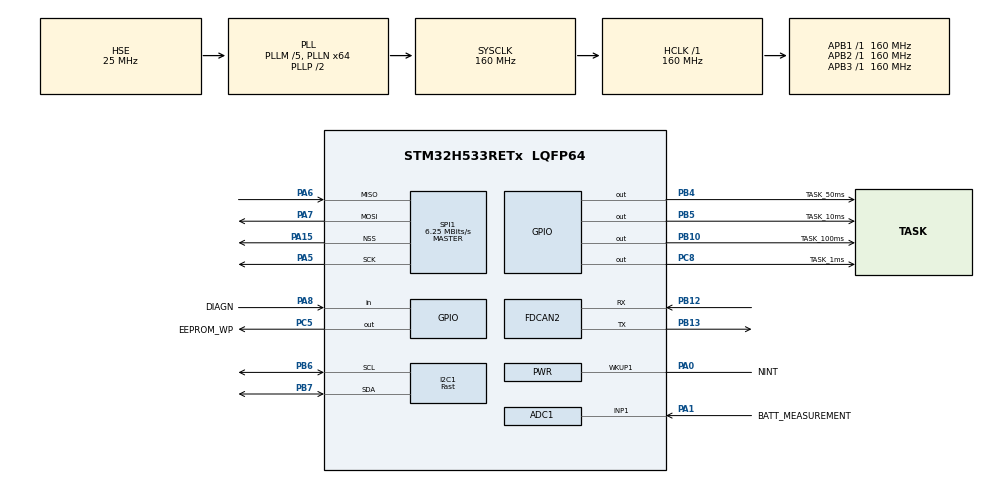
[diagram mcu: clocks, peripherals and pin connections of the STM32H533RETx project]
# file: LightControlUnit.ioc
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ADC1.AWD1FilteringConfig=ADC_AWD_FILTERING_4SAMPLES
ADC1.AWD1HighThreshold=3845
ADC1.AWD1ITMode=ENABLE
ADC1.AWD1LowThreshold=1960
ADC1.Channel-1\#ChannelRegularConversion=ADC_CHANNEL_1
ADC1.EnableAnalogWatchDog1=true
ADC1.MonitoredBy-1\#ChannelRegularConversion=__NULL
ADC1.NbrOfConversionFlag=1
ADC1.OffsetNumber-1\#ChannelRegularConversion=ADC_OFFSET_NONE
ADC1.Rank-1\#ChannelRegularConversion=1
ADC1.SamplingTime-1\#ChannelRegularConversion=ADC_SAMPLETIME_92CYCLES_5
ADC1.WatchdogChannel=ADC_CHANNEL_1
ADC1.master=1
BOOTPATH.BootPathName=LEGACY
BOOTPATH.UserSelectedBootPath=LEGACY
CORTEX_M33_NS.userName=CORTEX_M33
FDCAN2.CalculateBaudRateNominal=500000
FDCAN2.CalculateTimeBitNominal=2000
FDCAN2.CalculateTimeQuantumNominal=100.0
FDCAN2.ClockDivider=FDCAN_CLOCK_DIV1
FDCAN2.NominalTimeSeg1=15
FDCAN2.NominalTimeSeg2=4
I2C1.I2C_Speed_Mode=I2C_Fast
I2C1.Timing=0x00F07BFF
Mcu.Family=STM32H5
Mcu.Name=STM32H533RETx
Mcu.Package=LQFP64
NVIC.PriorityGroup=NVIC_PRIORITYGROUP_4
NVIC.TIM2_IRQn=true\:15\:0\:false\:false\:true\:false\:true\:true
NVIC.TimeBase=TIM2_IRQn
NVIC.TimeBaseIP=TIM2
PA0.GPIO_Label=NINT
PA0.Mode=WakeUp1
PA0.Signal=PWR_WKUP1
PA1.GPIO_Label=BATT_MEASUREMENT
PA1.Signal=ADCx_INP1
PA13(JTMS/SWDIO).GPIO_Label=SWDIO
PA13(JTMS/SWDIO).Mode=Trace_Asynchronous_SW
PA13(JTMS/SWDIO).Signal=DEBUG_JTMS-SWDIO
PA14(JTCK/SWCLK).GPIO_Label=SWCLK
PA14(JTCK/SWCLK).Mode=Trace_Asynchronous_SW
PA14(JTCK/SWCLK).Signal=DEBUG_JTCK-SWCLK
PA15(JTDI).Mode=NSS_Signal_Hard_Output
PA15(JTDI).Signal=SPI1_NSS
PA5.Mode=Full_Duplex_Master
PA5.Signal=SPI1_SCK
PA6.Mode=Full_Duplex_Master
PA6.Signal=SPI1_MISO
PA7.Mode=Full_Duplex_Master
PA7.Signal=SPI1_MOSI
PA8.GPIO_Label=DIAGN
PA8.Signal=GPIO_Input
PB10.GPIO_Label=TASK_100ms
PB10.Signal=GPIO_Output
PB12.Mode=FDCAN_Activate
PB12.Signal=FDCAN2_RX
PB13.Mode=FDCAN_Activate
PB13.Signal=FDCAN2_TX
PB3(JTDO/TRACESWO).GPIO_Label=SWO
PB3(JTDO/TRACESWO).Mode=Trace_Asynchronous_SW
PB3(JTDO/TRACESWO).Signal=DEBUG_JTDO-SWO
PB4(NJTRST).GPIO_Label=TASK_50ms
PB4(NJTRST).Signal=GPIO_Output
PB5.GPIO_Label=TASK_10ms
PB5.Signal=GPIO_Output
PB6.Mode=I2C
PB6.Signal=I2C1_SCL
PB7.Mode=I2C
PB7.Signal=I2C1_SDA
PC14-OSC32_IN(OSC32_IN).Mode=LSE-External-Oscillator
PC14-OSC32_IN(OSC32_IN).Signal=RCC_OSC32_IN
PC15-OSC32_OUT(OSC32_OUT).Mode=LSE-External-Oscillator
PC15-OSC32_OUT(OSC32_OUT).Signal=RCC_OSC32_OUT
PC5.GPIO_Label=EEPROM_WP
PC5.Signal=GPIO_Output
PC8.GPIO_Label=TASK_1ms
PC8.Signal=GPIO_Output
PH0-OSC_IN(PH0).Mode=HSE-External-Oscillator
PH0-OSC_IN(PH0).Signal=RCC_OSC_IN
PH1-OSC_OUT(PH1).Mode=HSE-External-Oscillator
PH1-OSC_OUT(PH1).Signal=RCC_OSC_OUT
ProjectManager.HeapSize=0x200
ProjectManager.StackSize=0x400
ProjectManager.TargetToolchain=STM32CubeIDE
RCC.ADCCLockSelection=RCC_ADCDACCLKSOURCE_PLL2R
RCC.ADCFreq_Value=100000000
RCC.AHBFreq_Value=160000000
RCC.APB1Freq_Value=160000000
RCC.APB1TimFreq_Value=160000000
RCC.APB2Freq_Value=160000000
RCC.APB2TimFreq_Value=160000000
RCC.APB3Freq_Value=160000000
RCC.CSI_VALUE=4000000
RCC.CortexFreq_Value=160000000
RCC.EPOD_VALUE=25000000
RCC.FDCANClockSelection=RCC_FDCANCLKSOURCE_PLL1Q
RCC.HCLKFreq_Value=160000000
RCC.HSE_VALUE=25000000
RCC.HSI48_VALUE=48000000
RCC.HSI_VALUE=64000000
RCC.LSIRC_VALUE=32000
RCC.PLL2M=4
RCC.PLL2N=64
RCC.PLL2P=4
RCC.PLL2Q=4
RCC.PLL2R=4
RCC.PLL2Source=RCC_PLL2_SOURCE_HSE
RCC.PLL3FRACN=0
RCC.PLL3M=4
RCC.PLL3N=64
RCC.PLL3P=4
RCC.PLL3R=4
RCC.PLL3Source=RCC_PLL3_SOURCE_HSE
RCC.PLLFRACN=0
RCC.PLLM=5
RCC.PLLN=64
RCC.PLLSourceVirtual=RCC_PLL1_SOURCE_HSE
RCC.SPI1CLockSelection=RCC_SPI1CLKSOURCE_PLL3P
RCC.SYSCLKFreq_VALUE=160000000
RCC.SYSCLKSource=RCC_SYSCLKSOURCE_PLLCLK
RCC.USBFreq_Value=48000000
RCC.VCOOutputFreq_Value=320000000
SH.ADCx_INP1.0=ADC1_INP1,IN1-Single-Ended
SPI1.BaudRatePrescaler=SPI_BAUDRATEPRESCALER_16
SPI1.CalculateBaudRate=6.25 MBits/s
SPI1.DataSize=SPI_DATASIZE_8BIT
SPI1.Direction=SPI_DIRECTION_2LINES
SPI1.Mode=SPI_MODE_MASTER
SPI1.TIMode=SPI_TIMODE_DISABLE
SPI1.VirtualNSS=VM_NSSHARD
SPI1.VirtualType=VM_MASTER
STMicroelectronics.X-CUBE-FREERTOS.1.2.0.configUSE_IDLE_HOOK=0
STMicroelectronics.X-CUBE-FREERTOS.1.2.0.configUSE_TICKLESS_IDLE=2
VP_BOOTPATH_VS_BOOTPATH.Mode=BP_Activate
VP_CORTEX_M33_NS_VS_Hclk.Mode=Hclk_Mode
VP_ICACHE_VS_ICACHE.Mode=DirectMappedCache
VP_MEMORYMAP_VS_MEMORYMAP.Mode=CurAppReg
VP_PWR_VS_DBSignals.Mode=DisableDeadBatterySignals
VP_PWR_VS_LPOM.Mode=PowerOptimisation
VP_PWR_VS_SECSignals.Mode=Security/Privilege
VP_SYS_VS_tim2.Mode=TIM2
board=NUCLEO-H533RE

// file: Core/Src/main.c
/* USER CODE BEGIN Header */
/**
  ******************************************************************************
  * @file           : main.c
  * @brief          : Main program body
  ******************************************************************************
  * @attention
  *
  * Copyright (c) 2026 STMicroelectronics.
  * All rights reserved.
  *
  * This software is licensed under terms that can be found in the LICENSE file
  * in the root directory of this software component.
  * If no LICENSE file comes with this software, it is provided AS-IS.
  *
  ******************************************************************************
  */
/* USER CODE END Header */
#include "main.h"

ADC_HandleTypeDef hadc1;

FDCAN_HandleTypeDef hfdcan2;

I2C_HandleTypeDef hi2c1;

SPI_HandleTypeDef hspi1;

/* USER CODE BEGIN PV */
uint32_t Task_1ms_Counter = 0;
uint32_t Task_10ms_Counter = 0;
uint32_t Task_50ms_Counter = 0;
uint32_t Task_100ms_Counter = 0;
/* USER CODE END PV */

void SystemClock_Config(void);
static void MX_GPIO_Init(void);
static void MX_ICACHE_Init(void);
static void MX_ADC1_Init(void);
static void MX_FDCAN2_Init(void);
static void MX_I2C1_Init(void);
static void MX_SPI1_Init(void);
/* USER CODE BEGIN PFP */
static void FreeRTOS_CreateTasks(void);

void Task_1ms(void * pvParameters);
void Task_10ms(void * pvParameters);
void Task_50ms(void * pvParameters);
void Task_100ms(void * pvParameters);
/* USER CODE END PFP */

int main(void)
{

  /* MCU Configuration--------------------------------------------------------*/

  /* Reset of all peripherals, Initializes the Flash interface and the Systick. */
  HAL_Init();

  /* Configure the system clock */
  SystemClock_Config();

  /* Initialize all configured peripherals */
  MX_GPIO_Init();
  MX_ICACHE_Init();
  MX_ADC1_Init();
  MX_FDCAN2_Init();
  MX_I2C1_Init();
  MX_SPI1_Init();

  /* Infinite loop */
  /* USER CODE BEGIN WHILE */
  FreeRTOS_CreateTasks();

  vTaskStartScheduler();
  while (1)
  {
    /* USER CODE END WHILE */

  }
}

void SystemClock_Config(void)
{
  RCC_OscInitTypeDef RCC_OscInitStruct = {0};
  RCC_ClkInitTypeDef RCC_ClkInitStruct = {0};

  /** Configure the main internal regulator output voltage
  */
  __HAL_PWR_VOLTAGESCALING_CONFIG(PWR_REGULATOR_VOLTAGE_SCALE1);

  while(!__HAL_PWR_GET_FLAG(PWR_FLAG_VOSRDY)) {}

  /** Initializes the RCC Oscillators according to the specified parameters
  * in the RCC_OscInitTypeDef structure.
  */
  RCC_OscInitStruct.OscillatorType = RCC_OSCILLATORTYPE_HSE;
  RCC_OscInitStruct.HSEState = RCC_HSE_ON;
  RCC_OscInitStruct.PLL.PLLState = RCC_PLL_ON;
  RCC_OscInitStruct.PLL.PLLSource = RCC_PLL1_SOURCE_HSE;
  RCC_OscInitStruct.PLL.PLLM = 5;
  RCC_OscInitStruct.PLL.PLLN = 64;
  RCC_OscInitStruct.PLL.PLLP = 2;
  RCC_OscInitStruct.PLL.PLLQ = 2;
  RCC_OscInitStruct.PLL.PLLR = 2;
  RCC_OscInitStruct.PLL.PLLRGE = RCC_PLL1_VCIRANGE_2;
  RCC_OscInitStruct.PLL.PLLVCOSEL = RCC_PLL1_VCORANGE_WIDE;
  RCC_OscInitStruct.PLL.PLLFRACN = 0;
  if (HAL_RCC_OscConfig(&RCC_OscInitStruct) != HAL_OK)
  {
    Error_Handler();
  }

  /** Initializes the CPU, AHB and APB buses clocks
  */
  RCC_ClkInitStruct.ClockType = RCC_CLOCKTYPE_HCLK|RCC_CLOCKTYPE_SYSCLK
                              |RCC_CLOCKTYPE_PCLK1|RCC_CLOCKTYPE_PCLK2
                              |RCC_CLOCKTYPE_PCLK3;
  RCC_ClkInitStruct.SYSCLKSource = RCC_SYSCLKSOURCE_PLLCLK;
  RCC_ClkInitStruct.AHBCLKDivider = RCC_SYSCLK_DIV1;
  RCC_ClkInitStruct.APB1CLKDivider = RCC_HCLK_DIV1;
  RCC_ClkInitStruct.APB2CLKDivider = RCC_HCLK_DIV1;
  RCC_ClkInitStruct.APB3CLKDivider = RCC_HCLK_DIV1;

  if (HAL_RCC_ClockConfig(&RCC_ClkInitStruct, FLASH_LATENCY_4) != HAL_OK)
  {
    Error_Handler();
  }

  /** Configure the programming delay
  */
  __HAL_FLASH_SET_PROGRAM_DELAY(FLASH_PROGRAMMING_DELAY_2);
}

static void MX_ADC1_Init(void)
{

  ADC_AnalogWDGConfTypeDef AnalogWDGConfig = {0};
  ADC_ChannelConfTypeDef sConfig = {0};

  /** Common config
  */
  hadc1.Instance = ADC1;
  hadc1.Init.ClockPrescaler = ADC_CLOCK_ASYNC_DIV2;
  hadc1.Init.Resolution = ADC_RESOLUTION_12B;
  hadc1.Init.DataAlign = ADC_DATAALIGN_RIGHT;
  hadc1.Init.ScanConvMode = ADC_SCAN_DISABLE;
  hadc1.Init.EOCSelection = ADC_EOC_SINGLE_CONV;
  hadc1.Init.LowPowerAutoWait = DISABLE;
  hadc1.Init.ContinuousConvMode = DISABLE;
  hadc1.Init.NbrOfConversion = 1;
  hadc1.Init.DiscontinuousConvMode = DISABLE;
  hadc1.Init.ExternalTrigConv = ADC_SOFTWARE_START;
  hadc1.Init.ExternalTrigConvEdge = ADC_EXTERNALTRIGCONVEDGE_NONE;
  hadc1.Init.DMAContinuousRequests = DISABLE;
  hadc1.Init.SamplingMode = ADC_SAMPLING_MODE_NORMAL;
  hadc1.Init.Overrun = ADC_OVR_DATA_PRESERVED;
  hadc1.Init.OversamplingMode = DISABLE;
  if (HAL_ADC_Init(&hadc1) != HAL_OK)
  {
    Error_Handler();
  }

  /** Configure Analog WatchDog 1
  */
  AnalogWDGConfig.WatchdogNumber = ADC_ANALOGWATCHDOG_1;
  AnalogWDGConfig.WatchdogMode = ADC_ANALOGWATCHDOG_SINGLE_REG;
  AnalogWDGConfig.Channel = ADC_CHANNEL_1;
  AnalogWDGConfig.ITMode = ENABLE;
  AnalogWDGConfig.HighThreshold = 3845;
  AnalogWDGConfig.LowThreshold = 1960;
  AnalogWDGConfig.FilteringConfig = ADC_AWD_FILTERING_4SAMPLES;
  if (HAL_ADC_AnalogWDGConfig(&hadc1, &AnalogWDGConfig) != HAL_OK)
  {
    Error_Handler();
  }

  /** Configure Regular Channel
  */
  sConfig.Channel = ADC_CHANNEL_1;
  sConfig.Rank = ADC_REGULAR_RANK_1;
  sConfig.SamplingTime = ADC_SAMPLETIME_92CYCLES_5;
  sConfig.SingleDiff = ADC_SINGLE_ENDED;
  sConfig.OffsetNumber = ADC_OFFSET_NONE;
  sConfig.Offset = 0;
  if (HAL_ADC_ConfigChannel(&hadc1, &sConfig) != HAL_OK)
  {
    Error_Handler();
  }

}

static void MX_FDCAN2_Init(void)
{

  hfdcan2.Instance = FDCAN2;
  hfdcan2.Init.ClockDivider = FDCAN_CLOCK_DIV1;
  hfdcan2.Init.FrameFormat = FDCAN_FRAME_CLASSIC;
  hfdcan2.Init.Mode = FDCAN_MODE_NORMAL;
  hfdcan2.Init.AutoRetransmission = DISABLE;
  hfdcan2.Init.TransmitPause = DISABLE;
  hfdcan2.Init.ProtocolException = DISABLE;
  hfdcan2.Init.NominalPrescaler = 16;
  hfdcan2.Init.NominalSyncJumpWidth = 1;
  hfdcan2.Init.NominalTimeSeg1 = 15;
  hfdcan2.Init.NominalTimeSeg2 = 4;
  hfdcan2.Init.DataPrescaler = 1;
  hfdcan2.Init.DataSyncJumpWidth = 1;
  hfdcan2.Init.DataTimeSeg1 = 1;
  hfdcan2.Init.DataTimeSeg2 = 1;
  hfdcan2.Init.StdFiltersNbr = 0;
  hfdcan2.Init.ExtFiltersNbr = 0;
  hfdcan2.Init.TxFifoQueueMode = FDCAN_TX_FIFO_OPERATION;
  if (HAL_FDCAN_Init(&hfdcan2) != HAL_OK)
  {
    Error_Handler();
  }

}

static void MX_I2C1_Init(void)
{

  hi2c1.Instance = I2C1;
  hi2c1.Init.Timing = 0x00F07BFF;
  hi2c1.Init.OwnAddress1 = 0;
  hi2c1.Init.AddressingMode = I2C_ADDRESSINGMODE_7BIT;
  hi2c1.Init.DualAddressMode = I2C_DUALADDRESS_DISABLE;
  hi2c1.Init.OwnAddress2 = 0;
  hi2c1.Init.OwnAddress2Masks = I2C_OA2_NOMASK;
  hi2c1.Init.GeneralCallMode = I2C_GENERALCALL_DISABLE;
  hi2c1.Init.NoStretchMode = I2C_NOSTRETCH_DISABLE;
  if (HAL_I2C_Init(&hi2c1) != HAL_OK)
  {
    Error_Handler();
  }

  /** Configure Analogue filter
  */
  if (HAL_I2CEx_ConfigAnalogFilter(&hi2c1, I2C_ANALOGFILTER_ENABLE) != HAL_OK)
  {
    Error_Handler();
  }

  /** Configure Digital filter
  */
  if (HAL_I2CEx_ConfigDigitalFilter(&hi2c1, 0) != HAL_OK)
  {
    Error_Handler();
  }

}

static void MX_ICACHE_Init(void)
{

  /** Enable instruction cache in 1-way (direct mapped cache)
  */
  if (HAL_ICACHE_ConfigAssociativityMode(ICACHE_1WAY) != HAL_OK)
  {
    Error_Handler();
  }
  if (HAL_ICACHE_Enable() != HAL_OK)
  {
    Error_Handler();
  }

}

static void MX_SPI1_Init(void)
{

  /* SPI1 parameter configuration*/
  hspi1.Instance = SPI1;
  hspi1.Init.Mode = SPI_MODE_MASTER;
  hspi1.Init.Direction = SPI_DIRECTION_2LINES;
  hspi1.Init.DataSize = SPI_DATASIZE_8BIT;
  hspi1.Init.CLKPolarity = SPI_POLARITY_LOW;
  hspi1.Init.CLKPhase = SPI_PHASE_1EDGE;
  hspi1.Init.NSS = SPI_NSS_HARD_OUTPUT;
  hspi1.Init.BaudRatePrescaler = SPI_BAUDRATEPRESCALER_16;
  hspi1.Init.FirstBit = SPI_FIRSTBIT_MSB;
  hspi1.Init.TIMode = SPI_TIMODE_DISABLE;
  hspi1.Init.CRCCalculation = SPI_CRCCALCULATION_DISABLE;
  hspi1.Init.CRCPolynomial = 0x7;
  hspi1.Init.NSSPMode = SPI_NSS_PULSE_ENABLE;
  hspi1.Init.NSSPolarity = SPI_NSS_POLARITY_LOW;
  hspi1.Init.FifoThreshold = SPI_FIFO_THRESHOLD_01DATA;
  hspi1.Init.MasterSSIdleness = SPI_MASTER_SS_IDLENESS_00CYCLE;
  hspi1.Init.MasterInterDataIdleness = SPI_MASTER_INTERDATA_IDLENESS_00CYCLE;
  hspi1.Init.MasterReceiverAutoSusp = SPI_MASTER_RX_AUTOSUSP_DISABLE;
  hspi1.Init.MasterKeepIOState = SPI_MASTER_KEEP_IO_STATE_DISABLE;
  hspi1.Init.IOSwap = SPI_IO_SWAP_DISABLE;
  hspi1.Init.ReadyMasterManagement = SPI_RDY_MASTER_MANAGEMENT_INTERNALLY;
  hspi1.Init.ReadyPolarity = SPI_RDY_POLARITY_HIGH;
  if (HAL_SPI_Init(&hspi1) != HAL_OK)
  {
    Error_Handler();
  }

}

static void MX_GPIO_Init(void)
{
  GPIO_InitTypeDef GPIO_InitStruct = {0};

  /* GPIO Ports Clock Enable */
  __HAL_RCC_GPIOC_CLK_ENABLE();
  __HAL_RCC_GPIOH_CLK_ENABLE();
  __HAL_RCC_GPIOA_CLK_ENABLE();
  __HAL_RCC_GPIOB_CLK_ENABLE();

  /*Configure GPIO pin Output Level */
  HAL_GPIO_WritePin(GPIOC, EEPROM_WP_Pin|TASK_1ms_Pin, GPIO_PIN_RESET);

  /*Configure GPIO pin Output Level */
  HAL_GPIO_WritePin(GPIOB, TASK_100ms_Pin|TASK_50ms_Pin|TASK_10ms_Pin, GPIO_PIN_RESET);

  /*Configure GPIO pins : EEPROM_WP_Pin TASK_1ms_Pin */
  GPIO_InitStruct.Pin = EEPROM_WP_Pin|TASK_1ms_Pin;
  GPIO_InitStruct.Mode = GPIO_MODE_OUTPUT_PP;
  GPIO_InitStruct.Pull = GPIO_NOPULL;
  GPIO_InitStruct.Speed = GPIO_SPEED_FREQ_LOW;
  HAL_GPIO_Init(GPIOC, &GPIO_InitStruct);

  /*Configure GPIO pins : TASK_100ms_Pin TASK_50ms_Pin TASK_10ms_Pin */
  GPIO_InitStruct.Pin = TASK_100ms_Pin|TASK_50ms_Pin|TASK_10ms_Pin;
  GPIO_InitStruct.Mode = GPIO_MODE_OUTPUT_PP;
  GPIO_InitStruct.Pull = GPIO_NOPULL;
  GPIO_InitStruct.Speed = GPIO_SPEED_FREQ_LOW;
  HAL_GPIO_Init(GPIOB, &GPIO_InitStruct);

  /*Configure GPIO pin : DIAGN_Pin */
  GPIO_InitStruct.Pin = DIAGN_Pin;
  GPIO_InitStruct.Mode = GPIO_MODE_INPUT;
  GPIO_InitStruct.Pull = GPIO_NOPULL;
  HAL_GPIO_Init(DIAGN_GPIO_Port, &GPIO_InitStruct);

}

/* USER CODE BEGIN 4 */
static void FreeRTOS_CreateTasks(void)
{
	xTaskCreate(Task_1ms, "Task_1ms", 256, NULL, 1, NULL);
	xTaskCreate(Task_10ms, "Task_10ms", 256, NULL, 1, NULL);
	xTaskCreate(Task_50ms, "Task_50ms", 256, NULL, 1, NULL);
	xTaskCreate(Task_100ms, "Task_100ms", 256, NULL, 1, NULL);
}

void Task_1ms(void * pvParameters)
{
	TickType_t lastWakeTime = xTaskGetTickCount();

	while(1)
	{
		HAL_GPIO_WritePin(GPIOC, TASK_1ms_Pin, GPIO_PIN_SET);
		/* Runnable*/
		Task_1ms_Counter++;
		vTaskDelayUntil(&lastWakeTime, pdMS_TO_TICKS(1));
		HAL_GPIO_WritePin(GPIOC, TASK_1ms_Pin, GPIO_PIN_RESET);
	}
}

void Task_10ms(void * pvParameters)
{
	TickType_t lastWakeTime = xTaskGetTickCount();

	while(1)
	{
		HAL_GPIO_WritePin(GPIOB, TASK_10ms_Pin, GPIO_PIN_SET);
		/* Runnable*/
		Task_10ms_Counter++;
		vTaskDelayUntil(&lastWakeTime, pdMS_TO_TICKS(10));
		HAL_GPIO_WritePin(GPIOB, TASK_10ms_Pin, GPIO_PIN_RESET);
	}
}

void Task_50ms(void * pvParameters)
{
	TickType_t lastWakeTime = xTaskGetTickCount();

	while(1)
	{
		HAL_GPIO_WritePin(GPIOB, TASK_50ms_Pin, GPIO_PIN_SET);
		/* Runnable*/
		Task_50ms_Counter++;
		vTaskDelayUntil(&lastWakeTime, pdMS_TO_TICKS(50));
		HAL_GPIO_WritePin(GPIOB, TASK_50ms_Pin, GPIO_PIN_RESET);
	}
}

void Task_100ms(void * pvParameters)
{
	TickType_t lastWakeTime = xTaskGetTickCount();

	while(1)
	{
		HAL_GPIO_WritePin(GPIOB, TASK_100ms_Pin, GPIO_PIN_SET);
		/* Runnable*/
		Task_100ms_Counter++;

		vTaskDelayUntil(&lastWakeTime, pdMS_TO_TICKS(100));
		HAL_GPIO_WritePin(GPIOB, TASK_100ms_Pin, GPIO_PIN_RESET);
	}
}

/* USER CODE END 4 */

void HAL_TIM_PeriodElapsedCallback(TIM_HandleTypeDef *htim)
{
  if (htim->Instance == TIM2)
  {
    HAL_IncTick();
  }
}

void Error_Handler(void)
{
  __disable_irq();
  while (1)
  {
  }
}

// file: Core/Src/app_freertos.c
/* USER CODE BEGIN Header */
/**
  ******************************************************************************
  * File Name          : app_freertos.c
  * Description        : FreeRTOS applicative file
  ******************************************************************************
  * @attention
  *
  * Copyright (c) 2026 STMicroelectronics.
  * All rights reserved.
  *
  * This software is licensed under terms that can be found in the LICENSE file
  * in the root directory of this software component.
  * If no LICENSE file comes with this software, it is provided AS-IS.
  *
  ******************************************************************************
  */
/* USER CODE END Header */

#include "app_freertos.h"

/* Definitions for Task_Bsw_1ms */
osThreadId_t Task_Bsw_1msHandle;
const osThreadAttr_t Task_Bsw_1ms_attributes = {
  .name = "Task_Bsw_1ms",
  .priority = (osPriority_t) osPriorityHigh,
  .stack_size = 128 * 4
};
/* Definitions for Task_App_1ms */
osThreadId_t Task_App_1msHandle;
const osThreadAttr_t Task_App_1ms_attributes = {
  .name = "Task_App_1ms",
  .priority = (osPriority_t) osPriorityAboveNormal,
  .stack_size = 128 * 4
};
/* Definitions for Task_Bsw_10ms */
osThreadId_t Task_Bsw_10msHandle;
const osThreadAttr_t Task_Bsw_10ms_attributes = {
  .name = "Task_Bsw_10ms",
  .priority = (osPriority_t) osPriorityNormal,
  .stack_size = 128 * 4
};
/* Definitions for Task_App_10ms */
osThreadId_t Task_App_10msHandle;
const osThreadAttr_t Task_App_10ms_attributes = {
  .name = "Task_App_10ms",
  .priority = (osPriority_t) osPriorityLow,
  .stack_size = 128 * 4
};

/* USER CODE BEGIN VPORT_SUPPORT_TICKS_AND_SLEEP */
__weak void vPortSuppressTicksAndSleep( TickType_t xExpectedIdleTime )
{
  // Generated when configUSE_TICKLESS_IDLE == 2.
  // Function called in tasks.c (in portTASK_FUNCTION).
  // TO BE COMPLETED or TO BE REPLACED by a user one, overriding that weak one.
}
/* USER CODE END VPORT_SUPPORT_TICKS_AND_SLEEP */

void MX_FREERTOS_Init(void) {

  /* creation of Task_Bsw_1ms */
  Task_Bsw_1msHandle = osThreadNew(Bsw_1ms, NULL, &Task_Bsw_1ms_attributes);

  /* creation of Task_App_1ms */
  Task_App_1msHandle = osThreadNew(App_1ms, NULL, &Task_App_1ms_attributes);

  /* creation of Task_Bsw_10ms */
  Task_Bsw_10msHandle = osThreadNew(Bsw_10ms, NULL, &Task_Bsw_10ms_attributes);

  /* creation of Task_App_10ms */
  Task_App_10msHandle = osThreadNew(App_10ms, NULL, &Task_App_10ms_attributes);

}
void Bsw_1ms(void *argument)
{
  /* USER CODE BEGIN Task_Bsw_1ms */
  /* Infinite loop */
  for(;;)
  {
    osDelayUntil(1);
  }
  /* USER CODE END Task_Bsw_1ms */
}

void App_1ms(void *argument)
{
  /* USER CODE BEGIN Task_App_1ms */
  /* Infinite loop */
  for(;;)
  {
    osDelayUntil(1);
  }
  /* USER CODE END Task_App_1ms */
}

void Bsw_10ms(void *argument)
{
  /* USER CODE BEGIN Task_Bsw_10ms */
  /* Infinite loop */
  for(;;)
  {
	osDelayUntil(10);
  }
  /* USER CODE END Task_Bsw_10ms */
}

void App_10ms(void *argument)
{
  /* USER CODE BEGIN Task_App_10ms */
  /* Infinite loop */
  for(;;)
  {
	osDelayUntil(10);
  }
  /* USER CODE END Task_App_10ms */
}
